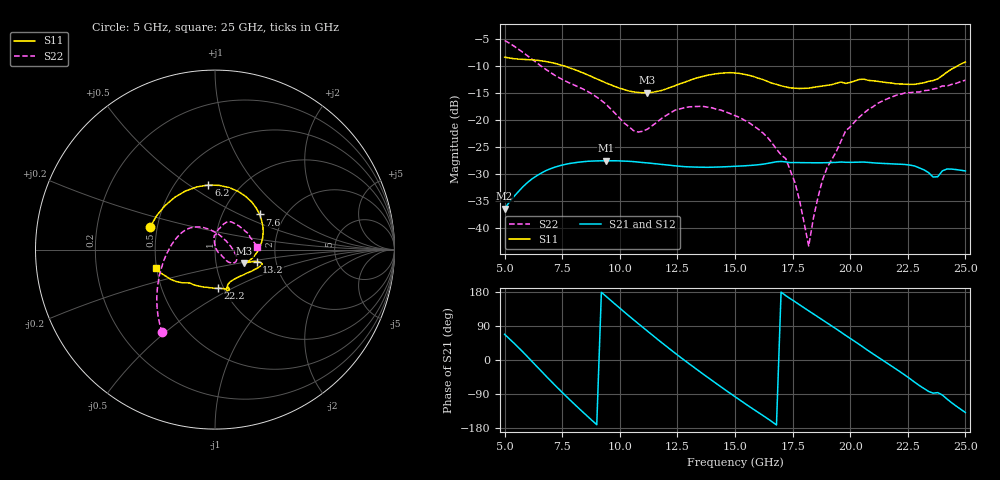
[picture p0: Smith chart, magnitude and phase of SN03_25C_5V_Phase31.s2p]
!File name = SN03_25C_5V_Phase31.s2p
!Date = 2/3/2014
!Time = 2:36 PM
!Test duration(min) = 0.07
!Test = SPars
!MPTS version = 7.120.8
!Comments =
!set_LD1(binary) = 31
!set_LD2(binary) = 524256
!test = SPars
!date_code = 20140203
!file_name = SN03_25C_5V_Phase31.s2p
!VREF(V) = 5.000
!VREF(mA) = 0.003
# GHz  S  DB  R  50
!%	Freq(GHz)  S11(dB)  S11(deg)  S21(dB)  S21(deg)  S12(dB)  S12(deg)  S22(dB)  S22(deg)
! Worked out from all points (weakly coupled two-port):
!   101 points, 5 GHz to 25 GHz, reference 50 ohm
!   highest |S21| = -27.50 dB at 9.4 GHz (marker M1); lowest = -36.4 dB at 5 GHz (marker M2)
!   lowest |S11| = -14.9 dB at 11.2 GHz (marker M3), VSWR 1.44, Z = 68.5 - j10.7 ohm
!   |S11| at or under -10 dB: 7.617 GHz to 24.64 GHz (17.02 GHz wide, 106 % of centre)
!   |S22| runs from -43.3 to -5.2 dB; largest |S21 - S12| = 0.00022
!   S11 on the Smith chart (normalised r, x): 5 GHz: 0.46, +0.13; 6.2 GHz: 0.72, +0.60; 7.6 GHz: 1.49, +0.65; 13.2 GHz: 1.58, -0.23; 22.2 GHz: 0.94, -0.43; 25 GHz: 0.49, -0.11
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5  -8.33 160.9  -36.36 67.8  -36.37 67.8  -5.24 -122.4
6.2  -8.83 95.9  -30.83 -4.6  -30.84 -4.5  -8.75 -150.2
7.6  -9.97 38.2  -28.20 -91.4  -28.23 -91.3  -12.66 168.0
8.4  -11.24 14.2  -27.69 -137.5  -27.71 -137.4  -14.22 144.7
9.4  -13.10 -9.2  -27.50 168.1  -27.52 168.2  -17.02 118.5
10.6  -14.75 -24.0  -27.66 106.2  -27.68 106.3  -21.94 62.2
11.2  -14.92 -25.0  -27.91 76.3  -27.92 76.2  -21.66 22.8
11.8  -14.51 -22.5  -28.17 46.8  -28.18 46.7  -19.72 -2.9
13.2  -12.37 -16.2  -28.66 -18.5  -28.67 -18.6  -17.47 -26.4
15  -11.27 -18.4  -28.53 -96.8  -28.53 -96.9  -19.15 -41.1
16.2  -12.46 -30.0  -28.15 -146.0  -28.16 -146.0  -22.33 -43.1
17.2  -13.84 -47.5  -27.72 170.0  -27.73 170.0  -27.10 -41.0
17.6  -14.08 -54.9  -27.84 153.9  -27.85 154.0  -31.51 -42.0
18.2  -14.07 -64.4  -27.87 129.7  -27.88 129.7  -43.31 32.0
18.4  -13.93 -66.6  -27.88 121.7  -27.89 121.7  -38.19 72.4
18.8  -13.68 -69.5  -27.87 105.7  -27.88 105.7  -31.03 90.4
19.8  -13.19 -72.3  -27.79 65.0  -27.79 65.1  -21.98 92.3
21.8  -13.13 -79.8  -28.07 -16.3  -28.10 -16.1  -15.73 67.9
22.2  -13.29 -85.8  -28.15 -32.5  -28.18 -32.4  -15.17 62.8
23.6  -12.66 -126.7  -30.52 -87.5  -30.54 -87.4  -14.22 36.4
24.2  -11.11 -140.1  -29.03 -102.9  -29.04 -102.9  -13.69 19.3
25  -9.23 -163.1  -29.40 -138.4  -29.40 -138.4  -12.59 3.9
